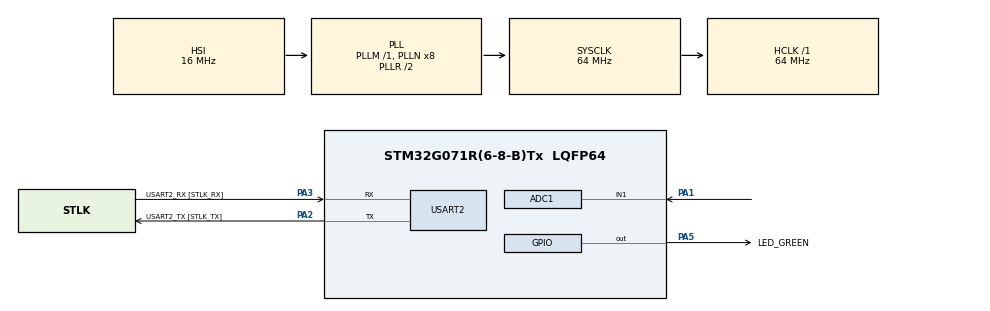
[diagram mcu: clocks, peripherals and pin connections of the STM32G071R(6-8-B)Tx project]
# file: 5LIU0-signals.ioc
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ADC1.Channel-0\#ChannelRegularConversion=ADC_CHANNEL_1
ADC1.DMAContinuousRequests=ENABLE
ADC1.ExternalTrigConv=ADC_EXTERNALTRIG_T2_TRGO
ADC1.NbrOfConversionFlag=1
ADC1.Rank-0\#ChannelRegularConversion=1
ADC1.SamplingTime-0\#ChannelRegularConversion=ADC_SAMPLINGTIME_COMMON_1
ADC1.SelectedChannel=ADC_CHANNEL_1
ADC1.master=1
Dma.ADC1.0.Direction=DMA_PERIPH_TO_MEMORY
Dma.ADC1.0.EventEnable=DISABLE
Dma.ADC1.0.Instance=DMA1_Channel1
Dma.ADC1.0.MemDataAlignment=DMA_MDATAALIGN_HALFWORD
Dma.ADC1.0.MemInc=DMA_MINC_ENABLE
Dma.ADC1.0.Mode=DMA_CIRCULAR
Dma.ADC1.0.PeriphDataAlignment=DMA_PDATAALIGN_HALFWORD
Dma.ADC1.0.PeriphInc=DMA_PINC_DISABLE
Dma.ADC1.0.Polarity=HAL_DMAMUX_REQ_GEN_RISING
Dma.ADC1.0.Priority=DMA_PRIORITY_HIGH
Dma.ADC1.0.RequestNumber=1
Dma.ADC1.0.SignalID=NONE
Dma.ADC1.0.SyncEnable=DISABLE
Dma.ADC1.0.SyncPolarity=HAL_DMAMUX_SYNC_NO_EVENT
Dma.ADC1.0.SyncRequestNumber=1
Dma.ADC1.0.SyncSignalID=NONE
Dma.Request0=ADC1
Mcu.Family=STM32G0
Mcu.Name=STM32G071R(6-8-B)Tx
Mcu.Package=LQFP64
NVIC.DMA1_Channel1_IRQn=true\:0\:0\:false\:false\:true\:false\:true\:true
PA1.Mode=IN1
PA1.Signal=ADC1_IN1
PA13.GPIO_Label=TMS
PA13.Mode=Serial_Wire
PA13.Signal=SYS_SWDIO
PA14-BOOT0.GPIO_Label=TCK
PA14-BOOT0.Mode=Serial_Wire
PA14-BOOT0.Signal=SYS_SWCLK
PA2.GPIO_Label=USART2_TX [STLK_TX]
PA2.GPIO_PuPd=GPIO_PULLUP
PA2.Mode=Asynchronous
PA2.Signal=USART2_TX
PA3.GPIO_Label=USART2_RX [STLK_RX]
PA3.GPIO_PuPd=GPIO_PULLUP
PA3.Mode=Asynchronous
PA3.Signal=USART2_RX
PA5.GPIO_Label=LED_GREEN
PA5.GPIO_Speed=GPIO_SPEED_FREQ_HIGH
PA5.Signal=GPIO_Output
PC13.Mode=SYS_WakeUp1
PC13.Signal=SYS_WKUP2
PC14-OSC32_IN\ (PC14).Mode=LSE-External-Oscillator
PC14-OSC32_IN\ (PC14).Signal=RCC_OSC32_IN
PC15-OSC32_OUT\ (PC15).Mode=LSE-External-Oscillator
PC15-OSC32_OUT\ (PC15).Signal=RCC_OSC32_OUT
PF0-OSC_IN\ (PF0).GPIO_Label=MCO
PF0-OSC_IN\ (PF0).Mode=HSE-External-Clock-Source
PF0-OSC_IN\ (PF0).Signal=RCC_OSC_IN
ProjectManager.HeapSize=0x200
ProjectManager.StackSize=0x400
ProjectManager.TargetToolchain=CMake
RCC.ADCFreq_Value=64000000
RCC.AHBFreq_Value=64000000
RCC.CortexFreq_Value=64000000
RCC.EXTERNAL_CLOCK_VALUE=12288000
RCC.HCLKFreq_Value=64000000
RCC.HSI_VALUE=16000000
RCC.SYSCLKFreq_VALUE=64000000
RCC.SYSCLKSource=RCC_SYSCLKSOURCE_PLLCLK
RCC.VCOOutputFreq_Value=128000000
TIM2.Period=49
TIM2.Prescaler=28
TIM2.TIM_MasterOutputTrigger=TIM_TRGO_UPDATE
USART2.VirtualMode-Asynchronous=VM_ASYNC
VP_TIM2_VS_ClockSourceINT.Mode=Internal
board=NUCLEO-G071RB

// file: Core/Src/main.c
/* USER CODE BEGIN Header */
/**
  ******************************************************************************
  * @file           : main.c
  * @brief          : Main program body
  ******************************************************************************
  * @attention
  *
  * Copyright (c) 2025 STMicroelectronics.
  * All rights reserved.
  *
  * This software is licensed under terms that can be found in the LICENSE file
  * in the root directory of this software component.
  * If no LICENSE file comes with this software, it is provided AS-IS.
  *
  ******************************************************************************
  */
/* USER CODE END Header */
#include "main.h"

/* USER CODE BEGIN Includes */
#include <stdint.h>
#include <stdio.h>
#include <math.h>
/* USER CODE END Includes */

ADC_HandleTypeDef hadc1;
DMA_HandleTypeDef hdma_adc1;

TIM_HandleTypeDef htim2;

UART_HandleTypeDef huart2;

/* USER CODE BEGIN PV */
typedef struct {
    float real;
    float imag;
} complex_t;

#define ADC_BUF_LEN 256
#define FFT_BUF_LEN 128
#define PI 3.14159265358979323846f
#define TOP_FFT_FREQ_AMOUNT 3

int top_bins[TOP_FFT_FREQ_AMOUNT] = {-1, -1, -1};
uint16_t adcBuf[ADC_BUF_LEN];
complex_t fft_buffer[FFT_BUF_LEN];

#define ENERGY_WINDOW_TIME_S 1
#define SAMPLING_FREQUENCY_KHZ 44.138f
#define AVERAGE_ENERGY_BUFFER_LEN 10
uint32_t interrupt_amount_for_energy_window = (uint32_t)((SAMPLING_FREQUENCY_KHZ*1000)/(ADC_BUF_LEN/2));
uint32_t interrupt_amount_for_energy_window_count = 0;
float average_energy = 0.0;
float average_energy_buffer[AVERAGE_ENERGY_BUFFER_LEN];
uint8_t average_energy_count = 0;
float current_average_voltage = 0.0f;

float current_rms = 0;

volatile uint8_t adcDataReady = 0;
volatile uint8_t halfReady    = 0;

typedef struct __attribute__((packed)) {
    uint32_t sync_word;       // 0xABCDEFFF for packet alignment
    float total_energy;
    float average_energy;
    float current_rms;
    float avg_voltage;
    float fft_real_vals[FFT_BUF_LEN/2];
    float fft_img_vals[FFT_BUF_LEN/2];
} TelemetryPacket_t;

TelemetryPacket_t txPacket;

/* USER CODE END PV */

void SystemClock_Config(void);
static void MX_GPIO_Init(void);
static void MX_DMA_Init(void);
static void MX_USART2_UART_Init(void);
static void MX_ADC1_Init(void);
static void MX_TIM2_Init(void);
/* USER CODE BEGIN PFP */
void process_adc(uint16_t *data, uint16_t length);
float calculate_discrete_energy(uint16_t *data, uint16_t length);
float calculate_rms(uint16_t *data, uint16_t length);
float adc_to_voltage(uint16_t adc_val);
void adc_to_fft_input(uint16_t* buffer, uint32_t length);
static unsigned int bit_reverse(unsigned int x, unsigned int log2n);
void calculate_fft_frequencies(uint16_t length);
void find_top3_fft_frequencies(int* top_bins);
void calculate_current_average_voltage(uint16_t *data, uint16_t length);
/* USER CODE END PFP */

/* USER CODE BEGIN 0 */
float total_energy = 0;
/* USER CODE END 0 */

int main(void)
{

  /* MCU Configuration--------------------------------------------------------*/

  /* Reset of all peripherals, Initializes the Flash interface and the Systick. */
  HAL_Init();

  /* Configure the system clock */
  SystemClock_Config();

  /* Initialize all configured peripherals */
  MX_GPIO_Init();
  MX_DMA_Init();
  MX_USART2_UART_Init();
  MX_ADC1_Init();
  MX_TIM2_Init();
  /* USER CODE BEGIN 2 */
  HAL_Init();
  SystemClock_Config();
  MX_GPIO_Init();
  MX_DMA_Init();
  MX_ADC1_Init();
  MX_TIM2_Init();
  MX_USART2_UART_Init();

  HAL_TIM_Base_Start(&htim2);  // start trigger timer

  HAL_ADC_Start_DMA(&hadc1,
                    (uint32_t*)adcBuf,
                    ADC_BUF_LEN);

  /* USER CODE END 2 */

  /* Infinite loop */
  while (1)
  {

    /* USER CODE BEGIN 3 */
    if (adcDataReady)
    {
        adcDataReady = 0;
        process_adc(adcBuf + ADC_BUF_LEN/2, ADC_BUF_LEN/2);

        // Fill the packet
        txPacket.sync_word = 0xABCDEFFF;
        txPacket.total_energy = total_energy;
        txPacket.average_energy = average_energy;
        txPacket.current_rms = current_rms;
        txPacket.avg_voltage = current_average_voltage;

        // Calculate and fill all FFT magnitudes
        for (int i = 0; i < FFT_BUF_LEN/2; i++) {
            txPacket.fft_real_vals[i] = fft_buffer[i].real;
            txPacket.fft_img_vals[i] = fft_buffer[i].imag;
        }

        // Send the entire struct as raw bytes
        HAL_UART_Transmit(&huart2, (uint8_t*)&txPacket, sizeof(txPacket), 10);
    }

    if (halfReady)
    {
        halfReady = 0;
        process_adc(adcBuf, ADC_BUF_LEN/2);
    }
  }

  /* USER CODE END 3 */
}

void SystemClock_Config(void)
{
  RCC_OscInitTypeDef RCC_OscInitStruct = {0};
  RCC_ClkInitTypeDef RCC_ClkInitStruct = {0};

  /** Configure the main internal regulator output voltage
  */
  HAL_PWREx_ControlVoltageScaling(PWR_REGULATOR_VOLTAGE_SCALE1);

  /** Initializes the RCC Oscillators according to the specified parameters
  * in the RCC_OscInitTypeDef structure.
  */
  RCC_OscInitStruct.OscillatorType = RCC_OSCILLATORTYPE_HSI;
  RCC_OscInitStruct.HSIState = RCC_HSI_ON;
  RCC_OscInitStruct.HSIDiv = RCC_HSI_DIV1;
  RCC_OscInitStruct.HSICalibrationValue = RCC_HSICALIBRATION_DEFAULT;
  RCC_OscInitStruct.PLL.PLLState = RCC_PLL_ON;
  RCC_OscInitStruct.PLL.PLLSource = RCC_PLLSOURCE_HSI;
  RCC_OscInitStruct.PLL.PLLM = RCC_PLLM_DIV1;
  RCC_OscInitStruct.PLL.PLLN = 8;
  RCC_OscInitStruct.PLL.PLLP = RCC_PLLP_DIV2;
  RCC_OscInitStruct.PLL.PLLQ = RCC_PLLQ_DIV2;
  RCC_OscInitStruct.PLL.PLLR = RCC_PLLR_DIV2;
  if (HAL_RCC_OscConfig(&RCC_OscInitStruct) != HAL_OK)
  {
    Error_Handler();
  }

  /** Initializes the CPU, AHB and APB buses clocks
  */
  RCC_ClkInitStruct.ClockType = RCC_CLOCKTYPE_HCLK|RCC_CLOCKTYPE_SYSCLK
                              |RCC_CLOCKTYPE_PCLK1;
  RCC_ClkInitStruct.SYSCLKSource = RCC_SYSCLKSOURCE_PLLCLK;
  RCC_ClkInitStruct.AHBCLKDivider = RCC_SYSCLK_DIV1;
  RCC_ClkInitStruct.APB1CLKDivider = RCC_HCLK_DIV1;

  if (HAL_RCC_ClockConfig(&RCC_ClkInitStruct, FLASH_LATENCY_2) != HAL_OK)
  {
    Error_Handler();
  }
}

static void MX_ADC1_Init(void)
{

  ADC_ChannelConfTypeDef sConfig = {0};

  /** Configure the global features of the ADC (Clock, Resolution, Data Alignment and number of conversion)
  */
  hadc1.Instance = ADC1;
  hadc1.Init.ClockPrescaler = ADC_CLOCK_SYNC_PCLK_DIV2;
  hadc1.Init.Resolution = ADC_RESOLUTION_12B;
  hadc1.Init.DataAlign = ADC_DATAALIGN_RIGHT;
  hadc1.Init.ScanConvMode = ADC_SCAN_DISABLE;
  hadc1.Init.EOCSelection = ADC_EOC_SINGLE_CONV;
  hadc1.Init.LowPowerAutoWait = DISABLE;
  hadc1.Init.LowPowerAutoPowerOff = DISABLE;
  hadc1.Init.ContinuousConvMode = DISABLE;
  hadc1.Init.NbrOfConversion = 1;
  hadc1.Init.DiscontinuousConvMode = DISABLE;
  hadc1.Init.ExternalTrigConv = ADC_EXTERNALTRIG_T2_TRGO;
  hadc1.Init.ExternalTrigConvEdge = ADC_EXTERNALTRIGCONVEDGE_RISING;
  hadc1.Init.DMAContinuousRequests = ENABLE;
  hadc1.Init.Overrun = ADC_OVR_DATA_PRESERVED;
  hadc1.Init.SamplingTimeCommon1 = ADC_SAMPLETIME_1CYCLE_5;
  hadc1.Init.SamplingTimeCommon2 = ADC_SAMPLETIME_1CYCLE_5;
  hadc1.Init.OversamplingMode = DISABLE;
  hadc1.Init.TriggerFrequencyMode = ADC_TRIGGER_FREQ_HIGH;
  if (HAL_ADC_Init(&hadc1) != HAL_OK)
  {
    Error_Handler();
  }

  /** Configure Regular Channel
  */
  sConfig.Channel = ADC_CHANNEL_1;
  sConfig.Rank = ADC_REGULAR_RANK_1;
  sConfig.SamplingTime = ADC_SAMPLINGTIME_COMMON_1;
  if (HAL_ADC_ConfigChannel(&hadc1, &sConfig) != HAL_OK)
  {
    Error_Handler();
  }

}

static void MX_TIM2_Init(void)
{

  TIM_ClockConfigTypeDef sClockSourceConfig = {0};
  TIM_MasterConfigTypeDef sMasterConfig = {0};

  htim2.Instance = TIM2;
  htim2.Init.Prescaler = 28;
  htim2.Init.CounterMode = TIM_COUNTERMODE_UP;
  htim2.Init.Period = 49;
  htim2.Init.ClockDivision = TIM_CLOCKDIVISION_DIV1;
  htim2.Init.AutoReloadPreload = TIM_AUTORELOAD_PRELOAD_DISABLE;
  if (HAL_TIM_Base_Init(&htim2) != HAL_OK)
  {
    Error_Handler();
  }
  sClockSourceConfig.ClockSource = TIM_CLOCKSOURCE_INTERNAL;
  if (HAL_TIM_ConfigClockSource(&htim2, &sClockSourceConfig) != HAL_OK)
  {
    Error_Handler();
  }
  sMasterConfig.MasterOutputTrigger = TIM_TRGO_UPDATE;
  sMasterConfig.MasterSlaveMode = TIM_MASTERSLAVEMODE_DISABLE;
  if (HAL_TIMEx_MasterConfigSynchronization(&htim2, &sMasterConfig) != HAL_OK)
  {
    Error_Handler();
  }

}

static void MX_USART2_UART_Init(void)
{

  huart2.Instance = USART2;
  huart2.Init.BaudRate = 921600;
  huart2.Init.WordLength = UART_WORDLENGTH_8B;
  huart2.Init.StopBits = UART_STOPBITS_1;
  huart2.Init.Parity = UART_PARITY_NONE;
  huart2.Init.Mode = UART_MODE_TX_RX;
  huart2.Init.HwFlowCtl = UART_HWCONTROL_NONE;
  huart2.Init.OverSampling = UART_OVERSAMPLING_16;
  huart2.Init.OneBitSampling = UART_ONE_BIT_SAMPLE_DISABLE;
  huart2.Init.ClockPrescaler = UART_PRESCALER_DIV1;
  huart2.AdvancedInit.AdvFeatureInit = UART_ADVFEATURE_NO_INIT;
  if (HAL_UART_Init(&huart2) != HAL_OK)
  {
    Error_Handler();
  }
  if (HAL_UARTEx_SetTxFifoThreshold(&huart2, UART_TXFIFO_THRESHOLD_1_8) != HAL_OK)
  {
    Error_Handler();
  }
  if (HAL_UARTEx_SetRxFifoThreshold(&huart2, UART_RXFIFO_THRESHOLD_1_8) != HAL_OK)
  {
    Error_Handler();
  }
  if (HAL_UARTEx_DisableFifoMode(&huart2) != HAL_OK)
  {
    Error_Handler();
  }

}

static void MX_DMA_Init(void)
{

  /* DMA controller clock enable */
  __HAL_RCC_DMA1_CLK_ENABLE();

  /* DMA interrupt init */
  /* DMA1_Channel1_IRQn interrupt configuration */
  HAL_NVIC_SetPriority(DMA1_Channel1_IRQn, 0, 0);
  HAL_NVIC_EnableIRQ(DMA1_Channel1_IRQn);

}

static void MX_GPIO_Init(void)
{
  GPIO_InitTypeDef GPIO_InitStruct = {0};

  /* GPIO Ports Clock Enable */
  __HAL_RCC_GPIOC_CLK_ENABLE();
  __HAL_RCC_GPIOF_CLK_ENABLE();
  __HAL_RCC_GPIOA_CLK_ENABLE();

  /*Configure GPIO pin Output Level */
  HAL_GPIO_WritePin(LED_GREEN_GPIO_Port, LED_GREEN_Pin, GPIO_PIN_RESET);

  /*Configure GPIO pin : LED_GREEN_Pin */
  GPIO_InitStruct.Pin = LED_GREEN_Pin;
  GPIO_InitStruct.Mode = GPIO_MODE_OUTPUT_PP;
  GPIO_InitStruct.Pull = GPIO_NOPULL;
  GPIO_InitStruct.Speed = GPIO_SPEED_FREQ_HIGH;
  HAL_GPIO_Init(LED_GREEN_GPIO_Port, &GPIO_InitStruct);

}

/* USER CODE BEGIN 4 */
void process_adc(uint16_t *data, uint16_t length)
{
  calculate_discrete_energy(data, length);
  current_rms = calculate_rms(data, length);
  adc_to_fft_input(data, length);
  calculate_fft_frequencies(length);
  find_top3_fft_frequencies(top_bins);
  calculate_current_average_voltage(data, length);
}

void calculate_current_average_voltage(uint16_t *data, uint16_t length)
{
  uint32_t sum = 0;
  for (int i=0; i < length; i++)
  {
    sum+=data[i];
  }
  current_average_voltage = adc_to_voltage((int)(sum/length));
}

float adc_to_voltage(uint16_t adc_val)
{
    float Vref = 3.3;
    int ADC_bits = 12;
    float V = adc_val * Vref / ( (1 << ADC_bits) - 1 );
    return V;
}

void adc_to_fft_input(uint16_t* buffer, uint32_t length)
{
    for (uint32_t i = 0; i < length; i++) {
        fft_buffer[i].real = (float)buffer[i] - 2048.0f;  // center around 0
        fft_buffer[i].imag = 0.0f;
    }
}

static unsigned int bit_reverse(unsigned int x, unsigned int log2n)
{
    unsigned int n = 0;
    for (unsigned int i = 0; i < log2n; i++) {
        n <<= 1;
        n |= (x & 1);
        x >>= 1;
    }
    return n;
}

void find_top3_fft_frequencies(int* top_bins)
{
    const int size = FFT_BUF_LEN/2;
    float magnitude[size];

    for (int i = 0; i < FFT_BUF_LEN/2; i++) {
        magnitude[i] = sqrtf(fft_buffer[i].real * fft_buffer[i].real +
                            fft_buffer[i].imag * fft_buffer[i].imag);
    }

    float top_mags[TOP_FFT_FREQ_AMOUNT] = {0.0f, 0.0f, 0.0f};

    for (int i = 1; i < size - 1; i++)
    {
        // local maxima
        if (magnitude[i] > magnitude[i-1] && magnitude[i] > magnitude[i+1])
        {
            float mag = magnitude[i];

            // insert in top 3 if larger than any
            for (int j = 0; j < TOP_FFT_FREQ_AMOUNT; j++)
            {
                if (mag > top_mags[j])
                {
                    // shift smaller down
                    for (int k = TOP_FFT_FREQ_AMOUNT - 1; k > j; k--)
                    {
                        top_mags[k] = top_mags[k-1];
                        top_bins[k] = top_bins[k-1];
                    }
                    top_mags[j] = mag;
                    top_bins[j] = i;
                    break;
                }
            }
        }
    }
}

void calculate_fft_frequencies(uint16_t length)
{
    unsigned int log2n = 0;
    for (unsigned int temp = length; temp > 1; temp >>= 1)
        log2n++;

    /* Bit-reversal */
    for (unsigned int i = 0; i < length; i++) {
        unsigned int j = bit_reverse(i, log2n);
        if (j > i) {
            complex_t tmp = fft_buffer[i];
            fft_buffer[i] = fft_buffer[j];
            fft_buffer[j] = tmp;
        }
    }

    for (unsigned int s = 1; s <= log2n; s++) {
        unsigned int m = 1 << s;      // FFT size at this stage
        unsigned int m2 = m >> 1;     // Half-size
        float theta = -2.0f * PI / m;

        float w_real_init = cosf(theta);
        float w_imag_init = sinf(theta);

        for (unsigned int k = 0; k < length; k += m) {
            float w_real = 1.0f;
            float w_imag = 0.0f;

            for (unsigned int j = 0; j < m2; j++) {
                unsigned int t = k + j + m2;
                unsigned int u = k + j;

                /* t = w * x[t] */
                float tr = w_real * fft_buffer[t].real - w_imag * fft_buffer[t].imag;
                float ti = w_real * fft_buffer[t].imag + w_imag * fft_buffer[t].real;

                /* x[t] = x[u] - t */
                fft_buffer[t].real = fft_buffer[u].real - tr;
                fft_buffer[t].imag = fft_buffer[u].imag - ti;

                /* x[u] = x[u] + t */
                fft_buffer[u].real += tr;
                fft_buffer[u].imag += ti;

                /* w = w * wm */
                float tmp = w_real;
                w_real = tmp * w_real_init - w_imag * w_imag_init;
                w_imag = tmp * w_imag_init + w_imag * w_real_init;
            }
        }
  }
}

float calculate_discrete_energy(uint16_t *data, uint16_t length)
{
    interrupt_amount_for_energy_window_count++;
    float Ts = 1.0 / (SAMPLING_FREQUENCY_KHZ*1000);

    float energy = 0.0;

    for (int i = 0; i < length; i++) {
        float V = adc_to_voltage(data[i]);
        energy += V * V * Ts;
    }
    if (interrupt_amount_for_energy_window_count == interrupt_amount_for_energy_window)
    {
      if (average_energy_count >= AVERAGE_ENERGY_BUFFER_LEN)
      {
        float sum_energy_total = 0;
        for (int i = 0; i < AVERAGE_ENERGY_BUFFER_LEN; i++)
        {
          sum_energy_total+=average_energy_buffer[i];
        }
        average_energy = sum_energy_total/AVERAGE_ENERGY_BUFFER_LEN;
        average_energy_count = 0;
      }
      average_energy_buffer[average_energy_count] = total_energy;
      average_energy_count++;
      total_energy = 0;
      interrupt_amount_for_energy_window_count = 0;
    }
    total_energy += energy;
    return energy;
}

float calculate_rms(uint16_t *data, uint16_t length)
{
    double sum_squares = 0.0;
    for (int i = 0; i < length; i++) {
        float V = adc_to_voltage(data[i]);
        sum_squares += V * V;
    }
    return sqrt(sum_squares / length);
}

void HAL_ADC_ConvCpltCallback(ADC_HandleTypeDef *hadc)
{
    if (hadc->Instance == ADC1)
    {
        adcDataReady = 1;
    }
}

void HAL_ADC_ConvHalfCpltCallback(ADC_HandleTypeDef *hadc)
{
    if (hadc->Instance == ADC1)
    {
        halfReady = 1;
    }
}

/* USER CODE END 4 */

void Error_Handler(void)
{
  __disable_irq();
  while (1)
  {
  }
}
